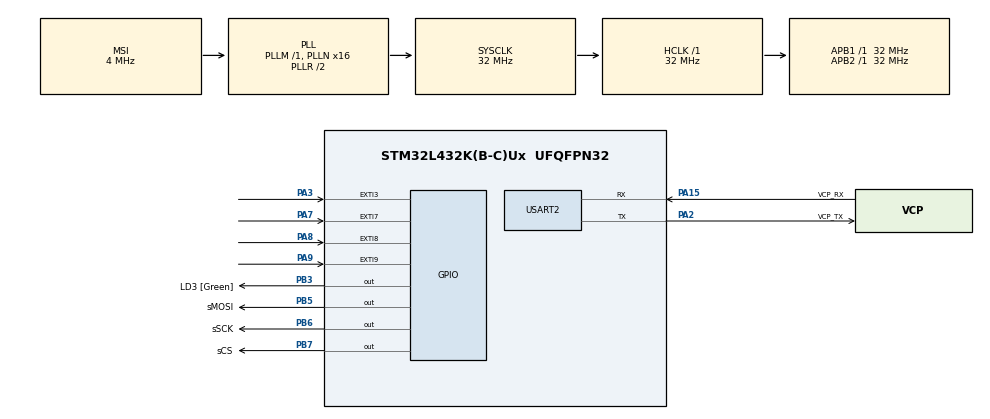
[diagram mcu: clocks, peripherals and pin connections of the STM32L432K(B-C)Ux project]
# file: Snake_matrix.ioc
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Mcu.Family=STM32L4
Mcu.Name=STM32L432K(B-C)Ux
Mcu.Package=UFQFPN32
NVIC.EXTI3_IRQn=true\:0\:0\:false\:false\:true\:true\:true\:true
NVIC.EXTI9_5_IRQn=true\:0\:0\:false\:false\:true\:true\:true\:true
NVIC.PriorityGroup=NVIC_PRIORITYGROUP_4
PA0.GPIO_Label=MCO [High speed clock in]
PA0.Mode=HSE-External-Clock-Source-for-LittleOrca
PA0.Signal=RCC_CK_IN
PA13\ (JTMS-SWDIO).GPIO_Label=SWDIO
PA13\ (JTMS-SWDIO).Mode=Serial_Wire
PA13\ (JTMS-SWDIO).Signal=SYS_JTMS-SWDIO
PA14\ (JTCK-SWCLK).GPIO_Label=SWCLK
PA14\ (JTCK-SWCLK).Mode=Serial_Wire
PA14\ (JTCK-SWCLK).Signal=SYS_JTCK-SWCLK
PA15\ (JTDI).GPIO_Label=VCP_RX
PA15\ (JTDI).Mode=Asynchronous
PA15\ (JTDI).Signal=USART2_RX
PA2.GPIO_Label=VCP_TX
PA2.Mode=Asynchronous
PA2.Signal=USART2_TX
PA3.GPIO_ModeDefaultEXTI=GPIO_MODE_IT_FALLING
PA3.GPIO_PuPd=GPIO_PULLUP
PA3.Signal=GPXTI3
PA7.GPIO_ModeDefaultEXTI=GPIO_MODE_IT_FALLING
PA7.GPIO_PuPd=GPIO_PULLUP
PA7.Signal=GPXTI7
PA8.GPIO_ModeDefaultEXTI=GPIO_MODE_IT_FALLING
PA8.GPIO_PuPd=GPIO_PULLUP
PA8.Signal=GPXTI8
PA9.GPIO_ModeDefaultEXTI=GPIO_MODE_IT_FALLING
PA9.GPIO_PuPd=GPIO_PULLUP
PA9.Signal=GPXTI9
PB3\ (JTDO-TRACESWO).GPIO_Label=LD3 [Green]
PB3\ (JTDO-TRACESWO).Signal=GPIO_Output
PB5.GPIO_Label=sMOSI
PB5.Signal=GPIO_Output
PB6.GPIO_Label=sSCK
PB6.Signal=GPIO_Output
PB7.GPIO_Label=sCS
PB7.Signal=GPIO_Output
PC14-OSC32_IN\ (PC14).Mode=LSE-External-Oscillator
PC14-OSC32_IN\ (PC14).Signal=RCC_OSC32_IN
PC15-OSC32_OUT\ (PC15).Mode=LSE-External-Oscillator
PC15-OSC32_OUT\ (PC15).Signal=RCC_OSC32_OUT
ProjectManager.HeapSize=0x200
ProjectManager.StackSize=0x400
ProjectManager.TargetToolchain=STM32CubeIDE
RCC.AHBFreq_Value=32000000
RCC.APB1Freq_Value=32000000
RCC.APB1TimFreq_Value=32000000
RCC.APB2Freq_Value=32000000
RCC.APB2TimFreq_Value=32000000
RCC.CortexFreq_Value=32000000
RCC.HCLKFreq_Value=32000000
RCC.HSE_VALUE=8000000
RCC.HSI16_VALUE=16000000
RCC.HSI48_VALUE=48000000
RCC.HSI_VALUE=16000000
RCC.MSI_VALUE=4000000
RCC.PLLMUL=RCC_PLLMUL_4
RCC.PLLN=16
RCC.SYSCLKFreq_VALUE=32000000
RCC.SYSCLKSource=RCC_SYSCLKSOURCE_PLLCLK
RCC.VCOOutputFreq_Value=64000000
USART2.VirtualMode-Asynchronous=VM_ASYNC
board=NUCLEO-L432KC

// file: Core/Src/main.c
/* USER CODE BEGIN Header */
/**
  ******************************************************************************
  * @file           : main.c
  * @brief          : Main program body
  ******************************************************************************
  * @attention
  *
  * Copyright (c) 2024 STMicroelectronics.
  * All rights reserved.
  *
  * This software is licensed under terms that can be found in the LICENSE file
  * in the root directory of this software component.
  * If no LICENSE file comes with this software, it is provided AS-IS.
  *
  ******************************************************************************
  */
/* USER CODE END Header */
#include "main.h"
#include "usart.h"
#include "gpio.h"

/* USER CODE BEGIN Includes */
//#include "stm32l4xx_hal.h"
//#include "stm32l4xx.h"
#include <stdlib.h>
/* USER CODE END Includes */

void SystemClock_Config(void);

/* USER CODE BEGIN 0 */

uint8_t width;
uint8_t height;
uint8_t isGameOver;

uint8_t snakeHeadX;
uint8_t snakeHeadY;

uint8_t snakeTailX[36];
uint8_t snakeTailY[36];
uint8_t snakeTailLen;

uint8_t foodX;
uint8_t foodY;

enum direction {STOP=0, LEFT, RIGHT, UP, DOWN};

enum direction dir;

///////////////////HARDWARE///////////////////////////
void soft_SPI_byte(uint8_t data){
	for(uint8_t i=8; i>=1; i--){
		HAL_GPIO_WritePin(sSCK_GPIO_Port, sSCK_Pin, 0);
		if((data&0x80) != 0)
			HAL_GPIO_WritePin(sMOSI_GPIO_Port, sMOSI_Pin, 1);
		else
			HAL_GPIO_WritePin(sMOSI_GPIO_Port, sMOSI_Pin, 0);
		data = data<<1;
		HAL_GPIO_WritePin(sSCK_GPIO_Port, sSCK_Pin, 1);

	}
}

void soft_SPI_word(uint8_t address, uint8_t data){

	HAL_GPIO_WritePin(sCS_GPIO_Port, sCS_Pin, 0);
	soft_SPI_byte(address);
	soft_SPI_byte(data);
	HAL_GPIO_WritePin(sCS_GPIO_Port, sCS_Pin, 1);
}

void matrix_init(void){
	soft_SPI_word(0x09, 0x00);
	soft_SPI_word(0x0a, 0x07);
	soft_SPI_word(0x0b, 0x07);
	soft_SPI_word(0x0c, 0x01);
	soft_SPI_word(0x0f, 0x00);
}

void matrix_row(uint8_t address, uint8_t data){
	if(address >=1 && address <=8) soft_SPI_word(address, data);
}

uint8_t matrix_buffer[8] = {0x00, 0x00, 0x00, 0x00, 0x00, 0x00, 0x00, 0x00};

void matrix_buffer_out(void){

	for(uint8_t i=1; i<=8; i++){
		matrix_row(i, matrix_buffer[i-1]);
	}
}

void set_buff(uint8_t x, uint8_t y){
	uint8_t sx = 7-(x&0b0111);
	uint8_t sy = (y&0b0111);
	matrix_buffer[sy] |= (1<<sx);
}

void clr_buff(uint8_t x, uint8_t y){
	uint8_t sx = 7-(x&0b0111);
	uint8_t sy = (y&0b0111);
	matrix_buffer[sy] &= ~(1<<sx);
}

void set_pixel(uint8_t x, uint8_t y){
	uint8_t sx = 7-(x&0b0111);
	uint8_t sy = (y&0b0111);
	matrix_buffer[sy] |= (1<<sx);
	matrix_buffer_out();
}

void clr_pixel(uint8_t x, uint8_t y){
	uint8_t sx = 7-(x&0b0111);
	uint8_t sy = (y&0b0111);
	matrix_buffer[sy] &= ~(1<<sx);
	matrix_buffer_out();
}

void draw_vertical_line(uint8_t x, uint8_t len){
	if(len<9){
		for(uint8_t i=0; i<len; i++){
			set_pixel(x, i);
		}
	}
}

void draw_horizontal_line(uint8_t y, uint8_t len){
	if(len<9){
		for(uint8_t i=0; i<len; i++){
			set_pixel(i, y);
		}
	}
}
///////////////////////SOFTWARE////////////////////////////////
void Setup(void){
	isGameOver = 0;
	width = 8;
	height = 8;

	dir = STOP;
	snakeHeadX = width/2;
	snakeHeadY = height/2;

	srand(HAL_GetTick());
	foodX = rand() % (width-1) + 1;
	foodY = rand() % (height-1) + 1;

	draw_horizontal_line(0, 8);
	draw_vertical_line(0, 8);
	draw_horizontal_line(7, 8);
	draw_vertical_line(7, 8);

}

void Draw(){

	 for(uint8_t i=1; i<width-1; i++){
		 for(uint8_t j=1; j<height-1; j++){
			 if(i == snakeHeadX && j==snakeHeadY) set_pixel(snakeHeadX, snakeHeadY);
			 else if(i == foodX && j==foodY) set_pixel(foodX, foodY);
			 else{
				 uint8_t isSnakeTailCoord=0;
				 for(uint8_t k=0; k<snakeTailLen; k++){
					 if(snakeTailX[k]==i && snakeTailY[k]==j){
						 set_pixel(i, j);
						 isSnakeTailCoord=1;
					 }
				 }
				 if(!isSnakeTailCoord) clr_pixel(i, j);
			 }
		 }
	 }

}

void Logic(){
	uint8_t prevX = snakeTailX[0];
	uint8_t prevY = snakeTailY[0];
	uint8_t prev2X, prev2Y;

	snakeTailX[0] = snakeHeadX;
	snakeTailY[0] = snakeHeadY;

	for(uint8_t i=1; i<snakeTailLen; i++){

        prev2X = snakeTailX[i];
        prev2Y = snakeTailY[i];
        snakeTailX[i] = prevX;
        snakeTailY[i] = prevY;
        prevX = prev2X;
        prevY = prev2Y;
	}

    switch (dir)
    {
    case LEFT:
        snakeHeadX--;
        break;
    case RIGHT:
        snakeHeadX++;
        break;
    case UP:
        snakeHeadY--;
        break;
    case DOWN:
        snakeHeadY++;
        break;
    }
    if (snakeHeadX > width - 2 || snakeHeadX<1 || snakeHeadY>height - 2 || snakeHeadY < 1) isGameOver = 1;

    for (int i = 0; i < snakeTailLen; i++)
    {
        if (snakeTailX[i] == snakeHeadX && snakeTailY[i] == snakeHeadY) isGameOver = 1;
    }
    if (snakeHeadX == foodX && snakeHeadY == foodY)
    {
        snakeTailLen++;

        srand(HAL_GetTick());
        foodX = rand() % (width-1) + 1;
        foodY = rand() % (height-1) + 1;

    }
}

/* USER CODE END 0 */

int main(void)
{

  /* MCU Configuration--------------------------------------------------------*/

  /* Reset of all peripherals, Initializes the Flash interface and the Systick. */
  HAL_Init();

  /* Configure the system clock */
  SystemClock_Config();

  /* Initialize all configured peripherals */
  MX_GPIO_Init();
  MX_USART2_UART_Init();
  /* USER CODE BEGIN 2 */
  matrix_init();

  Setup();
  uint32_t lastMoveTime = HAL_GetTick();
  uint8_t drawFlag=0;

  /* USER CODE END 2 */

  /* Infinite loop */
  /* USER CODE BEGIN WHILE */
  while (1)
  {
	  if(!isGameOver){
		  	  uint32_t currentTime = HAL_GetTick();
		  	  if(currentTime - lastMoveTime >= 500){

			  Draw();
			  Logic();
			  lastMoveTime = currentTime;
		  }
	  }

	  if(isGameOver && !drawFlag){
		  for(uint8_t i=0; i<8; i++){
			  for(uint8_t j=0; j<8; j++){
				  clr_pixel(i, j);
			  }
		  }
		  drawFlag = 1;
		  if(drawFlag){
			  uint8_t new_matrix_buffer[] = {0x7e, 0xc1, 0xa5, 0xa1, 0xa1, 0xa5, 0xc1, 0x7e};
			  for(uint8_t i=0; i<8; i++){
				  matrix_buffer[i] = new_matrix_buffer[i];
			  }
			  matrix_buffer_out();
		  }
	  }

    /* USER CODE END WHILE */

  }
}

void SystemClock_Config(void)
{
  RCC_OscInitTypeDef RCC_OscInitStruct = {0};
  RCC_ClkInitTypeDef RCC_ClkInitStruct = {0};

  /** Configure the main internal regulator output voltage
  */
  if (HAL_PWREx_ControlVoltageScaling(PWR_REGULATOR_VOLTAGE_SCALE1) != HAL_OK)
  {
    Error_Handler();
  }

  /** Configure LSE Drive Capability
  */
  HAL_PWR_EnableBkUpAccess();
  __HAL_RCC_LSEDRIVE_CONFIG(RCC_LSEDRIVE_LOW);

  /** Initializes the RCC Oscillators according to the specified parameters
  * in the RCC_OscInitTypeDef structure.
  */
  RCC_OscInitStruct.OscillatorType = RCC_OSCILLATORTYPE_LSE|RCC_OSCILLATORTYPE_MSI;
  RCC_OscInitStruct.LSEState = RCC_LSE_ON;
  RCC_OscInitStruct.MSIState = RCC_MSI_ON;
  RCC_OscInitStruct.MSICalibrationValue = 0;
  RCC_OscInitStruct.MSIClockRange = RCC_MSIRANGE_6;
  RCC_OscInitStruct.PLL.PLLState = RCC_PLL_ON;
  RCC_OscInitStruct.PLL.PLLSource = RCC_PLLSOURCE_MSI;
  RCC_OscInitStruct.PLL.PLLM = 1;
  RCC_OscInitStruct.PLL.PLLN = 16;
  RCC_OscInitStruct.PLL.PLLP = RCC_PLLP_DIV7;
  RCC_OscInitStruct.PLL.PLLQ = RCC_PLLQ_DIV2;
  RCC_OscInitStruct.PLL.PLLR = RCC_PLLR_DIV2;
  if (HAL_RCC_OscConfig(&RCC_OscInitStruct) != HAL_OK)
  {
    Error_Handler();
  }

  /** Initializes the CPU, AHB and APB buses clocks
  */
  RCC_ClkInitStruct.ClockType = RCC_CLOCKTYPE_HCLK|RCC_CLOCKTYPE_SYSCLK
                              |RCC_CLOCKTYPE_PCLK1|RCC_CLOCKTYPE_PCLK2;
  RCC_ClkInitStruct.SYSCLKSource = RCC_SYSCLKSOURCE_PLLCLK;
  RCC_ClkInitStruct.AHBCLKDivider = RCC_SYSCLK_DIV1;
  RCC_ClkInitStruct.APB1CLKDivider = RCC_HCLK_DIV1;
  RCC_ClkInitStruct.APB2CLKDivider = RCC_HCLK_DIV1;

  if (HAL_RCC_ClockConfig(&RCC_ClkInitStruct, FLASH_LATENCY_1) != HAL_OK)
  {
    Error_Handler();
  }

  /** Enable MSI Auto calibration
  */
  HAL_RCCEx_EnableMSIPLLMode();
}

/* USER CODE BEGIN 4 */
void HAL_GPIO_EXTI_Callback(uint16_t GPIO_Pin){
	if(GPIO_Pin == GPIO_PIN_3){
		dir = UP;
	}
	else if(GPIO_Pin == GPIO_PIN_7){
		dir = DOWN;
	}
	else if(GPIO_Pin == GPIO_PIN_8){
		dir = LEFT;
	}
	else if(GPIO_Pin == GPIO_PIN_9){
		dir = RIGHT;
	}
}

/* USER CODE END 4 */

void Error_Handler(void)
{
  __disable_irq();
  while (1)
  {
  }
}
